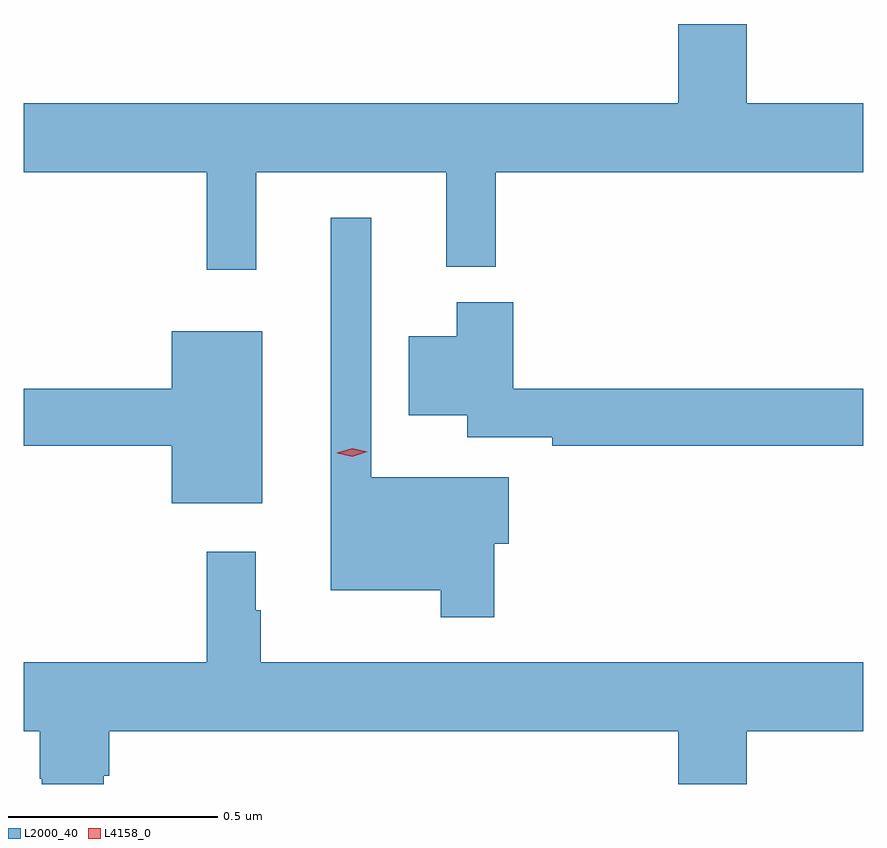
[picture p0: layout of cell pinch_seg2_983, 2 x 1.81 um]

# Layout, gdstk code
import gdstk
lib = gdstk.Library(unit=1e-6, precision=1e-09)
def P(c, l, *ps):  # polygons
    for p in ps: c.add(gdstk.Polygon(p, *l))
L2000_40 = (2000, 40)
L4158_0 = (4158, 0)

pinch_seg2_983 = lib.new_cell('pinch_seg2_983')
P(pinch_seg2_983, L2000_40, [(343.823,638.312),(344.276,638.312),(344.276,638.087),(344.393,638.087),(344.393,638.312),(345.269,638.312),(345.269,638.476),(344.992,638.476),(344.992,638.665),(344.828,638.665),(344.828,638.476),(343.269,638.476),(343.269,638.312),(343.705,638.312),(343.705,638.079),(343.823,638.079)],
  [(344.39,637.427),(344.425,637.427),(344.425,637.585),(344.097,637.585),(344.097,638.203),(344,638.203),(344,637.316),(344.262,637.316),(344.262,637.251),(344.39,637.251)],
  [(345.269,637.796),(344.435,637.796),(344.435,638.002),(344.3,638.002),(344.3,637.921),(344.186,637.921),(344.186,637.733),(344.325,637.733),(344.325,637.68),(344.528,637.68),(344.528,637.66),(345.269,637.66)],
  [(343.837,637.933),(343.622,637.933),(343.622,637.796),(343.269,637.796),(343.269,637.66),(343.622,637.66),(343.622,637.523),(343.837,637.523)],
  [(343.459,636.874),(343.472,636.874),(343.472,636.98),(344.828,636.98),(344.828,636.854),(344.992,636.854),(344.992,636.98),(345.269,636.98),(345.269,637.144),(343.834,637.144),(343.834,637.268),(343.822,637.268),(343.822,637.408),(343.705,637.408),(343.705,637.144),(343.269,637.144),(343.269,636.98),(343.307,636.98),(343.307,636.867),(343.312,636.867),(343.312,636.854),(343.459,636.854)])
P(pinch_seg2_983, L4158_0, [(344.052,637.634),(344.016,637.642),(344.016,637.643),(344.016,637.643),(344.051,637.654),(344.087,637.646),(344.087,637.646),(344.087,637.646)])

lib.write_gds('pinch_seg2_983.gds')
